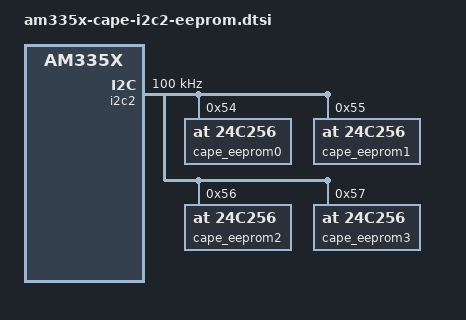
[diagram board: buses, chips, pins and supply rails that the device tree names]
/*
 * Copyright (C) 2012 Texas Instruments Incorporated - http://www.ti.com/
 *
 * This program is free software; you can redistribute it and/or modify
 * it under the terms of the GNU General Public License version 2 as
 * published by the Free Software Foundation.
 */

&i2c2 {
	clock-frequency = <100000>;

	cape_eeprom0: cape_eeprom0@54 {
		compatible = "at,24c256";
		reg = <0x54>;
	};

	cape_eeprom1: cape_eeprom1@55 {
		compatible = "at,24c256";
		reg = <0x55>;
	};

	cape_eeprom2: cape_eeprom2@56 {
		compatible = "at,24c256";
		reg = <0x56>;
	};

	cape_eeprom3: cape_eeprom3@57 {
		compatible = "at,24c256";
		reg = <0x57>;
	};
};
